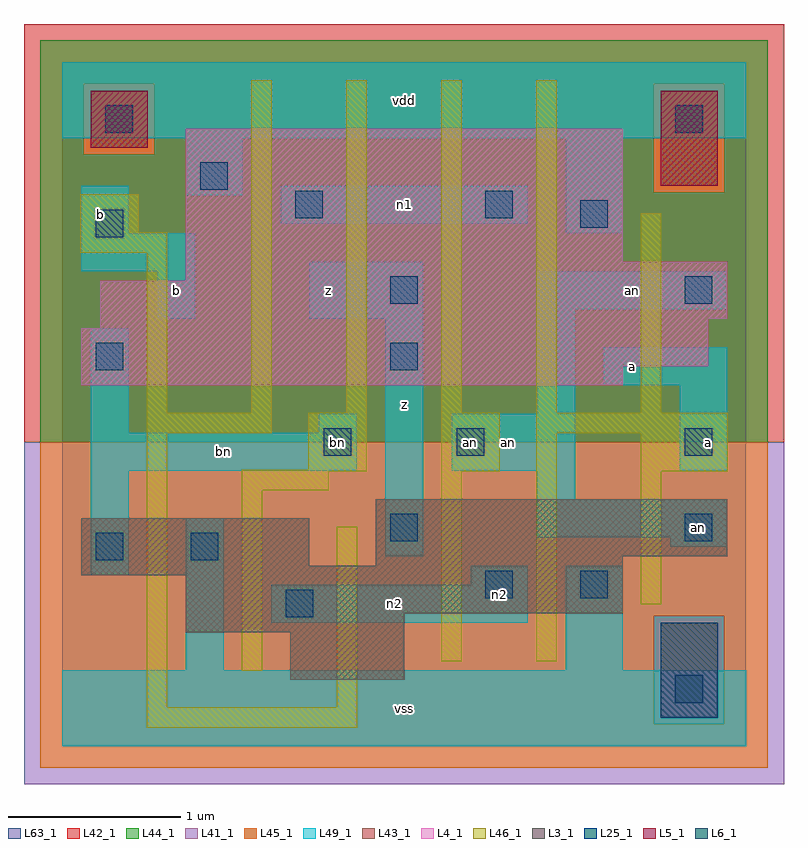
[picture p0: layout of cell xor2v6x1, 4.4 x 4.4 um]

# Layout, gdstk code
import gdstk
lib = gdstk.Library(unit=1e-6, precision=1e-09)
def R(c, l, rs):  # rectangles x0, y0, x1, y1
    for r in rs: c.add(gdstk.rectangle(r[:2], r[2:], *l))
def A(c, l, x, y, w, h, nx, ny, dx, dy):  # array of equal rectangles
    R(c, l, [(x+i*dx, y+j*dy, x+i*dx+w, y+j*dy+h) for i in range(nx) for j in range(ny)])
L3_1 = (3, 1)
L4_1 = (4, 1)
L5_1 = (5, 1)
L6_1 = (6, 1)
L25_1 = (25, 1)
L41_1 = (41, 1)
L42_1 = (42, 1)
L43_1 = (43, 1)
L44_1 = (44, 1)
L45_1 = (45, 1)
L46_1 = (46, 1)
L49_1 = (49, 1)
L63_1 = (63, 1)

xor2v6x1 = lib.new_cell('xor2v6x1')
R(xor2v6x1, L3_1, [(1.32,0.385,1.98,0.66), (0.715,0.66,1.98,0.77), (0.715,0.77,3.245,0.99), (0.11,0.99,3.245,1.045), (0.11,1.045,1.43,1.32), (1.815,1.045,3.245,1.1), (1.815,1.1,3.85,1.43)])
R(xor2v6x1, L4_1, [(0.11,2.09,3.245,2.2), (0.11,2.2,3.74,2.42), (0.22,2.42,3.74,2.475), (0.22,2.475,3.85,2.695), (0.715,2.695,3.85,2.805), (0.715,2.805,3.245,3.575)])
R(xor2v6x1, L5_1, [(3.465,3.245,3.795,3.795), (0.165,3.465,0.495,3.795)])
R(xor2v6x1, L6_1, [(3.465,0.165,3.795,0.715)])
R(xor2v6x1, L25_1, [(3.55,0.25,3.71,0.41), (1.295,0.745,1.455,0.905), (2.45,0.855,2.61,1.015), (3,0.855,3.16,1.015), (0.195,1.075,0.355,1.235), (0.745,1.075,0.905,1.235), (1.9,1.185,2.06,1.345), (3.605,1.185,3.765,1.345), (1.515,1.68,1.675,1.84), (2.285,1.68,2.445,1.84), (3.605,1.68,3.765,1.84), (0.195,2.175,0.355,2.335), (1.9,2.175,2.06,2.335), (1.9,2.56,2.06,2.72), (3.605,2.56,3.765,2.72), (0.195,2.945,0.355,3.105), (3,3,3.16,3.16), (1.35,3.055,1.51,3.215), (2.45,3.055,2.61,3.215), (0.8,3.22,0.96,3.38), (0.25,3.55,0.41,3.71), (3.55,3.55,3.71,3.71)])
R(xor2v6x1, L41_1, [(-0.22,-0.22,4.18,1.76)])
R(xor2v6x1, L42_1, [(-0.22,1.76,4.18,4.18)])
R(xor2v6x1, L43_1, [(3.465,0.165,3.795,0.715), (1.32,0.385,1.98,0.66), (0.715,0.66,1.98,0.77), (0.715,0.77,3.245,0.99), (0.11,0.99,3.245,1.045), (0.11,1.045,1.43,1.32), (1.815,1.045,3.245,1.1), (1.815,1.1,3.85,1.43), (0.11,2.09,3.245,2.2), (0.11,2.2,3.74,2.42), (0.22,2.42,3.74,2.475), (0.22,2.475,3.85,2.695), (0.715,2.695,3.85,2.805), (0.715,2.805,3.245,3.575), (3.465,3.245,3.795,3.795), (0.165,3.465,0.495,3.795)])
R(xor2v6x1, L44_1, [(3.425,0.125,3.835,0.755), (-0.125,1.76,4.085,3.205), (-0.125,3.205,3.425,3.425), (3.835,3.205,4.085,3.835), (-0.125,3.425,0.125,3.835), (0.535,3.425,3.425,3.835), (-0.125,3.835,4.085,4.085)])
R(xor2v6x1, L45_1, [(-0.125,-0.125,4.085,0.125), (-0.125,0.125,3.425,0.755), (3.835,0.125,4.085,0.755), (-0.125,0.755,4.085,1.76), (3.425,3.205,3.835,3.835), (0.125,3.425,0.535,3.835)])
A(xor2v6x1, L46_1, 1.095, 1.93, 0.12, 1.925, 4, 1, 0.55, 0)
R(xor2v6x1, L46_1, [(0.49,0.105,1.71,0.225), (0.49,0.225,0.61,1.81), (1.59,0.225,1.71,1.27), (1.04,0.435,1.16,1.48), (2.195,0.49,2.315,1.59), (2.745,0.49,2.865,1.81), (3.35,0.82,3.47,1.59), (1.04,1.48,1.545,1.59), (1.04,1.59,1.765,1.6), (2.195,1.59,2.535,1.93), (3.35,1.59,3.855,1.81), (1.425,1.6,1.765,1.93), (0.49,1.81,1.215,1.93), (2.745,1.81,3.855,1.93), (0.49,1.93,0.61,2.855), (3.35,1.93,3.47,3.085), (0.105,2.855,0.61,2.975), (0.105,2.975,0.445,3.195)])
R(xor2v6x1, L49_1, [(0,0,3.96,0.44), (0.715,0.44,0.935,1.32), (2.915,0.44,3.245,1.045), (1.21,0.715,2.695,0.935), (2.365,0.935,2.695,1.045), (0.165,0.99,0.385,1.595), (1.87,1.1,2.09,2.475), (3.52,1.155,3.85,1.21), (2.75,1.21,3.85,1.43), (2.75,1.43,2.97,1.595), (0.165,1.595,1.705,1.815), (2.255,1.595,2.97,1.925), (3.575,1.595,3.85,2.09), (0.165,1.815,0.385,2.42), (1.485,1.815,1.705,1.925), (2.75,1.925,2.97,2.53), (3.135,2.09,3.85,2.31), (0.55,2.475,0.77,2.75), (1.43,2.475,2.09,2.805), (2.75,2.53,3.85,2.75), (0.11,2.75,0.77,2.97), (0.11,2.97,0.385,3.245), (2.915,2.97,3.245,3.52), (1.265,3.025,2.695,3.245), (0.715,3.19,1.045,3.52), (0,3.52,3.96,3.96)])
R(xor2v6x1, L63_1, [(0,0,3.96,3.96)])
xor2v6x1.add(gdstk.Label('bn', (1.595,1.76), layer=49, texttype=1))
xor2v6x1.add(gdstk.Label('an', (2.365,1.76), layer=49, texttype=1))
xor2v6x1.add(gdstk.Label('b', (0.66,2.64), layer=49, texttype=1))
xor2v6x1.add(gdstk.Label('b', (0.22,3.08), layer=49, texttype=1))
xor2v6x1.add(gdstk.Label('bn', (0.935,1.705), layer=49, texttype=1))
xor2v6x1.add(gdstk.Label('bn', (1.595,1.76), layer=49, texttype=1))
xor2v6x1.add(gdstk.Label('z', (1.54,2.64), layer=49, texttype=1))
xor2v6x1.add(gdstk.Label('vss', (1.98,0.22), layer=49, texttype=1))
xor2v6x1.add(gdstk.Label('n2', (1.925,0.825), layer=49, texttype=1))
xor2v6x1.add(gdstk.Label('n2', (2.53,0.88), layer=49, texttype=1))
xor2v6x1.add(gdstk.Label('an', (2.585,1.76), layer=49, texttype=1))
xor2v6x1.add(gdstk.Label('z', (1.98,1.98), layer=49, texttype=1))
xor2v6x1.add(gdstk.Label('n1', (1.98,3.135), layer=49, texttype=1))
xor2v6x1.add(gdstk.Label('vdd', (1.98,3.74), layer=49, texttype=1))
xor2v6x1.add(gdstk.Label('an', (3.685,1.265), layer=49, texttype=1))
xor2v6x1.add(gdstk.Label('a', (3.74,1.76), layer=49, texttype=1))
xor2v6x1.add(gdstk.Label('a', (3.3,2.2), layer=49, texttype=1))
xor2v6x1.add(gdstk.Label('an', (3.3,2.64), layer=49, texttype=1))

lib.write_gds('xor2v6x1.gds')
